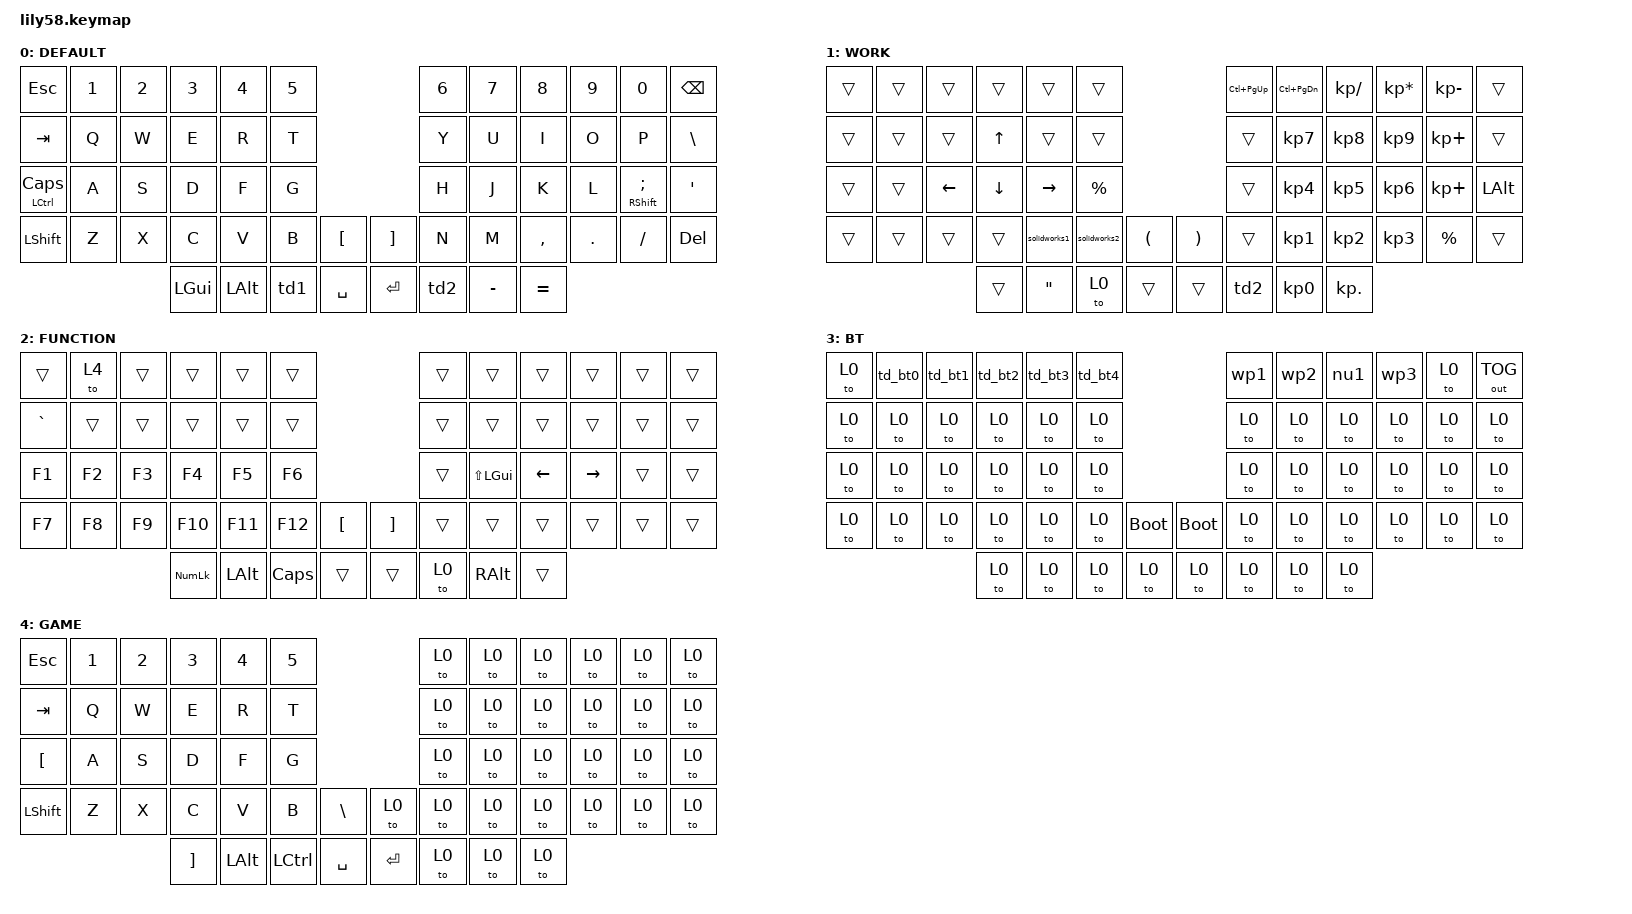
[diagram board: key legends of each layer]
/*
 * Copyright (c) 2020 The ZMK Contributors
 *
 * SPDX-License-Identifier: MIT
 */

#include <behaviors.dtsi>
#include <dt-bindings/zmk/keys.h>
#include <dt-bindings/zmk/bt.h>
#include <dt-bindings/zmk/ext_power.h>
#include <dt-bindings/zmk/outputs.h>
#include <dt-bindings/zmk/mouse.h>

/ {
    macros {
        wp1: wp1 {
            compatible = "zmk,behavior-macro";
            #binding-cells = <0>;
            bindings = <&none &kp N1 &kp N1 &kp N2 &kp N7>;
            label = "WP1";
        };

        wp2: wp2 {
            compatible = "zmk,behavior-macro";
            #binding-cells = <0>;
            bindings = <&none &kp LS(J) &kp LS(T) &kp LS(B) &kp I &kp R &kp C &kp H &kp W &kp O &kp D &kp DLLR &kp N2 &kp ENTER>;
            label = "WP2";
        };

        wp3: wp3 {
            compatible = "zmk,behavior-macro";
            #binding-cells = <0>;
            bindings = <&none &kp LS(I) &kp N &kp T &kp E &kp N &kp DLLR &kp J &kp T &kp N1 &kp RET>;
            label = "WP3";
        };

        nu1: nu1 {
            compatible = "zmk,behavior-macro";
            #binding-cells = <0>;
            bindings = <&none &kp J &kp O &kp N &kp A &kp T &kp H &kp A &kp N &kp DOT &kp T &kp A &kp N &kp G &kp N2 &kp TAB>;
            label = "NU1";
        };

        solidworks1: solidworks1 {
            compatible = "zmk,behavior-macro";
            #binding-cells = <0>;
            bindings = <&none &kp SPACE &kp PIPE &kp SPACE>;
            label = "SOLIDWORKS1";
        };

        solidworks2: solidworks2 {
            compatible = "zmk,behavior-macro";
            #binding-cells = <0>;
            bindings = <&none &kp SPACE &kp MINUS &kp SPACE>;
            label = "SOLIDWORKS2";
        };

        BT_CLEAR0: BT_CLEAR0 {
            compatible = "zmk,behavior-macro";
            #binding-cells = <0>;
            bindings = <&none &bt BT_SEL 0 &bt BT_CLR>;
            label = "BT_CLEAR0";
        };

        BT_CLEAR1: BT_CLEAR1 {
            compatible = "zmk,behavior-macro";
            #binding-cells = <0>;
            bindings = <&none &bt BT_SEL 1 &bt BT_CLR>;
            label = "BT_CLEAR1";
        };

        BT_CLEAR2: BT_CLEAR2 {
            compatible = "zmk,behavior-macro";
            #binding-cells = <0>;
            bindings = <&none &bt BT_SEL 2 &bt BT_CLR>;
            label = "BT_CLEAR2";
        };

        BT_CLEAR3: BT_CLEAR3 {
            compatible = "zmk,behavior-macro";
            #binding-cells = <0>;
            bindings = <&none &bt BT_SEL 3 &bt BT_CLR>;
            label = "BT_CLEAR3";
        };

        BT_CLEAR4: BT_CLEAR4 {
            compatible = "zmk,behavior-macro";
            #binding-cells = <0>;
            bindings = <&none &bt BT_SEL 4 &bt BT_CLR>;
            label = "BT_CLEAR4";
        };

        boards: boards {
            compatible = "zmk,behavior-macro";
            #binding-cells = <0>;
            bindings = <&none &kp SPACE &kp B &kp O &kp A &kp R &kp D &kp S>;
            label = "BOARDS";
        };
    };

    behaviors {
        td1: td1 {
            compatible = "zmk,behavior-tap-dance";
            label = "TD1";
            #binding-cells = <0>;
            bindings = <&mo 1>, <&to 1>;

            tapping-term-ms = <200>;
        };

        td2: td2 {
            compatible = "zmk,behavior-tap-dance";
            label = "TD2";
            #binding-cells = <0>;
            bindings = <&mo 2>, <&mo 3>;

            tapping-term-ms = <200>;
        };

        td_bt0: td_bt0 {
            compatible = "zmk,behavior-tap-dance";
            label = "TD_BT0";
            #binding-cells = <0>;
            bindings = <&bt BT_SEL 0>, <&bt BT_CLR>;
        };

        td_bt1: td_bt1 {
            compatible = "zmk,behavior-tap-dance";
            label = "TD_BT1";
            #binding-cells = <0>;
            bindings = <&bt BT_SEL 1>, <&bt BT_CLR>;
        };

        td_bt2: td_bt2 {
            compatible = "zmk,behavior-tap-dance";
            label = "TD_BT2";
            #binding-cells = <0>;
            bindings = <&bt BT_SEL 2>, <&bt BT_CLR>;
        };

        td_bt3: td_bt3 {
            compatible = "zmk,behavior-tap-dance";
            label = "TD_BT3";
            #binding-cells = <0>;
            bindings = <&bt BT_SEL 3>, <&bt BT_CLR>;
        };

        td_bt4: td_bt4 {
            compatible = "zmk,behavior-tap-dance";
            label = "TD_BT4";
            #binding-cells = <0>;
            bindings = <&bt BT_SEL 4>, <&bt BT_CLR>;
        };

    };

    keymap {
        compatible = "zmk,keymap";

        DEFAULT {
            // ------------------------------------------------------------------------------------------------------------
            // |  ESC  |  1  |  2  |  3   |  4   |  5   |                   |  6   |  7    |  8    |  9   |   0   |   `   |
            // |  TAB  |  Q  |  W  |  E   |  R   |  T   |                   |  Y   |  U    |  I    |  O   |   P   |   -   |
            // |  CTRL |  A  |  S  |  D   |  F   |  G   |                   |  H   |  J    |  K    |  L   |   ;   |   '   |
            // | SHIFT |  Z  |  X  |  C   |  V   |  B   |   "["  |  |  "]"  |  N   |  M    |  ,    |  .   |   /   | SHIFT |
            //                     | ALT  | GUI  | LOWER|  SPACE |  | ENTER | RAISE| BSPC  | GUI   |

            label = "DEFAULT";
            bindings = <
&kp ESC             &kp N1  &kp N2  &kp N3        &kp N4    &kp N5                                         &kp N6  &kp N7     &kp N8     &kp N9   &kp N0                     &kp BACKSPACE
&kp TAB             &kp Q   &kp W   &kp E         &kp R     &kp T                                          &kp Y   &kp U      &kp I      &kp O    &kp P                      &kp BACKSLASH
&mt LCTRL CAPSLOCK  &kp A   &kp S   &kp D         &kp F     &kp G                                          &kp H   &kp J      &kp K      &kp L    &mt RIGHT_SHIFT SEMICOLON  &kp SQT
&kp LSHFT           &kp Z   &kp X   &kp C         &kp V     &kp B   &kp LEFT_BRACKET    &kp RIGHT_BRACKET  &kp N   &kp M      &kp COMMA  &kp DOT  &kp FSLH                   &kp DEL
                                    &kp LEFT_GUI  &kp LALT  &td1    &kp SPACE           &kp RET            &td2    &kp MINUS  &kp EQUAL
            >;
        };

        WORK {
            // ------------------------------------------------------------------------------------------------------------
            // | BTCLR | BT1 | BT2 |  BT3 |  BT4 |  BT5 |                   |      |       |       |      |       |       |
            // |  F1   |  F2 |  F3 |  F4  |  F5  |  F6  |                   |  F7  |  F8   |  F9   |  F10 |  F11  |  F12  |
            // |   `   |  !  |  @  |  #   |  $   |  %   |                   |  ^   |  &    |  *    |  (   |   )   |   ~   |
            // |       |     |     |      |      |      |        |  |       |      |  _    |  +    |  {   |   }   |  "|"  |
            //                     |      |      |      |        |  |       |      |       |       |

            label = "WORK";
            bindings = <
&trans  &trans  &trans    &trans    &trans             &trans                                                       &kp LC(PAGE_UP)     &kp LC(PAGE_DOWN)  &kp KP_DIVIDE  &kp KP_MULTIPLY  &kp KP_MINUS  &trans
&trans  &trans  &trans    &kp UP    &trans             &trans                                                       &trans              &kp KP_N7          &kp KP_N8      &kp KP_N9        &kp KP_PLUS   &trans
&trans  &trans  &kp LEFT  &kp DOWN  &kp RIGHT          &kp PERCENT                                                  &trans              &kp KP_N4          &kp KP_N5      &kp KP_N6        &kp KP_PLUS   &kp LEFT_ALT
&trans  &trans  &trans    &trans    &solidworks1       &solidworks2  &kp LEFT_PARENTHESIS    &kp RIGHT_PARENTHESIS  &trans              &kp KP_N1          &kp KP_N2      &kp KP_N3        &kp PERCENT   &trans
                          &trans    &kp DOUBLE_QUOTES  &to 0         &trans                  &trans                 &td2                &kp KP_N0          &kp KP_DOT
            >;
        };

        FUNCTION {
            // ------------------------------------------------------------------------------------------------------------
            // |       |     |     |      |      |      |                   |      |       |       |      |       |       |
            // |   `   |  1  |  2  |  3   |  4   |  5   |                   |  6   |   7   |   8   |  9   |   0   |       |
            // |   F1  |  F2 |  F3 |  F4  |  F5  |  F6  |                   |      |   <-  |   v   |  ^   |  ->   |       |
            // |   F7  |  F8 |  F9 |  F10 |  F11 |  F12 |        |  |       |  +   |   -   |   =   |  [   |   ]   |   \   |
            //                     |      |      |      |        |  |       |      |       |       |

            label = "FUNCTION";
            bindings = <
&trans     &to 4   &trans  &trans          &trans    &trans                                               &trans  &trans            &trans          &trans           &trans  &trans
&kp GRAVE  &trans  &trans  &trans          &trans    &trans                                               &trans  &trans            &trans          &trans           &trans  &trans
&kp F1     &kp F2  &kp F3  &kp F4          &kp F5    &kp F6                                               &trans  &kp LS(LEFT_GUI)  &kp LEFT_ARROW  &kp RIGHT_ARROW  &trans  &trans
&kp F7     &kp F8  &kp F9  &kp F10         &kp F11   &kp F12       &kp LEFT_BRACKET    &kp RIGHT_BRACKET  &trans  &trans            &trans          &trans           &trans  &trans
                           &kp KP_NUMLOCK  &kp LALT  &kp CAPSLOCK  &trans              &trans             &to 0   &kp RIGHT_ALT     &trans
            >;
        };

        BT {
            bindings = <
&to 0  &td_bt0       &td_bt1       &td_bt2       &td_bt3       &td_bt4                                      &wp1        &wp2        &nu1        &wp3        &to 0       &out OUT_TOG
&to 0  &to 0         &to 0         &to 0         &to 0         &to 0                                        &to 0       &to 0       &to 0       &to 0       &to 0       &to 0
&to 0  &to 0         &to 0         &to 0         &to 0         &to 0                                        &to 0       &to 0       &to 0       &to 0       &to 0       &to 0
&to 0  &to 0         &to 0         &to 0         &to 0         &to 0         &bootloader     &bootloader    &to 0       &to 0       &to 0       &to 0       &to 0       &to 0
                                   &to 0         &to 0         &to 0         &to 0           &to 0          &to 0       &to 0       &to 0
            >;

            label = "BT";
        };

        GAME {
            bindings = <
&kp ESCAPE        &kp NUMBER_1  &kp NUMBER_2  &kp NUMBER_3       &kp NUMBER_4  &kp N5                                 &to 0  &to 0  &to 0  &to 0  &to 0  &to 0
&kp TAB           &kp Q         &kp W         &kp E              &kp R         &kp T                                  &to 0  &to 0  &to 0  &to 0  &to 0  &to 0
&kp LEFT_BRACKET  &kp A         &kp S         &kp D              &kp F         &kp G                                  &to 0  &to 0  &to 0  &to 0  &to 0  &to 0
&kp LEFT_SHIFT    &kp Z         &kp X         &kp C              &kp V         &kp B      &kp BACKSLASH    &to 0      &to 0  &to 0  &to 0  &to 0  &to 0  &to 0
                                              &kp RIGHT_BRACKET  &kp LEFT_ALT  &kp LCTRL  &kp SPACE        &kp ENTER  &to 0  &to 0  &to 0
            >;

            label = "GAME";
        };
    };
};
